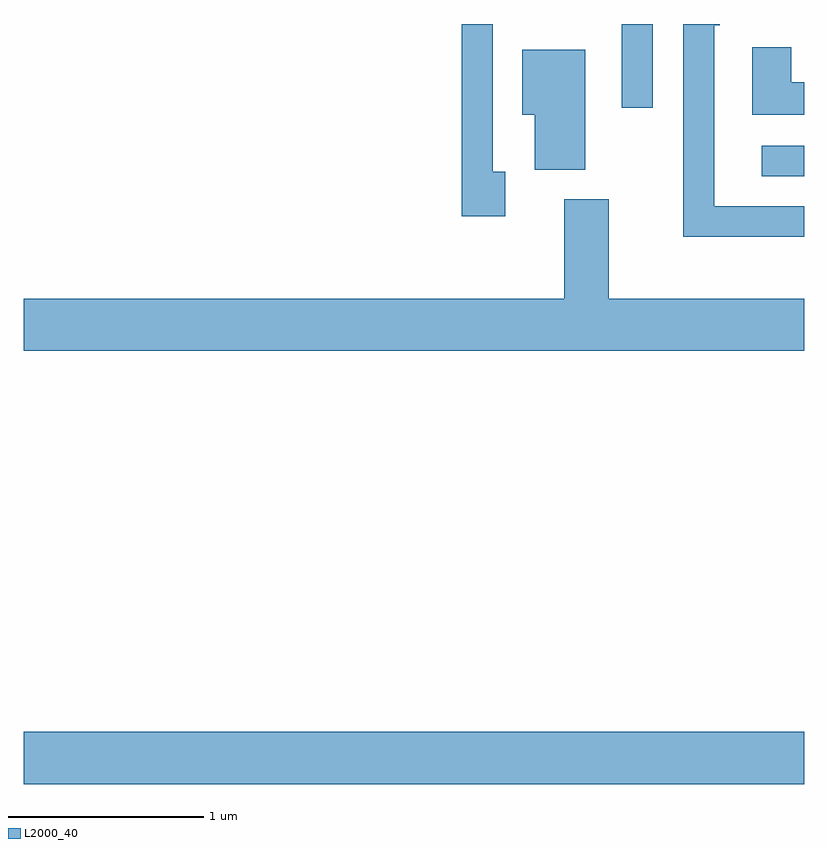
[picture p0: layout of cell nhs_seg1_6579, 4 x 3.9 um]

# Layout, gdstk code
import gdstk
lib = gdstk.Library(unit=1e-6, precision=1e-09)
def R(c, l, rs):  # rectangles x0, y0, x1, y1
    for r in rs: c.add(gdstk.rectangle(r[:2], r[2:], *l))
def P(c, l, *ps):  # polygons
    for p in ps: c.add(gdstk.Polygon(p, *l))
L2000_40 = (2000, 40)

nhs_seg1_6579 = lib.new_cell('nhs_seg1_6579')
R(nhs_seg1_6579, L2000_40, [(383.611,881.816,387.611,882.084), (387.393,884.931,387.611,885.089), (386.676,885.283,386.834,885.712)])
P(nhs_seg1_6579, L2000_40, [(387.611,884.779),(387.149,884.779),(387.149,885.706),(387.179,885.706),(387.179,885.712),(386.991,885.712),(386.991,884.621),(387.611,884.621)],
  [(386.079,884.954),(386.014,884.954),(386.014,885.712),(385.856,885.712),(385.856,884.726),(386.079,884.726)],
  [(387.611,885.414),(387.544,885.414),(387.544,885.594),(387.346,885.594),(387.346,885.246),(387.611,885.246)],
  [(386.489,885.579),(386.166,885.579),(386.166,885.246),(386.231,885.246),(386.231,884.966),(386.489,884.966)],
  [(387.611,884.304),(386.609,884.304),(386.609,884.814),(386.381,884.814),(386.381,884.304),(383.611,884.304),(383.611,884.036),(387.611,884.036)])

lib.write_gds('nhs_seg1_6579.gds')
